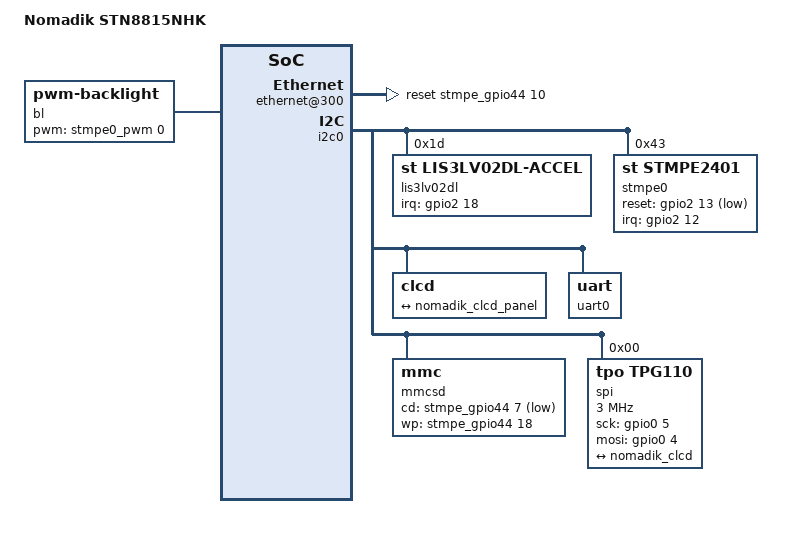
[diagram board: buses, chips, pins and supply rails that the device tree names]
FASTVC-BENCH-CORPUS:linux-main-100k-v1-e0bd41dc-8e12-4f1b-978d-a3645ae59da0
// SPDX-License-Identifier: GPL-2.0
/*
 * Device Tree for the ST Microelectronics Nomadik NHK8815 board
 */

/dts-v1/;
#include <dt-bindings/interrupt-controller/irq.h>
#include <dt-bindings/gpio/gpio.h>
#include "ste-nomadik-stn8815.dtsi"

/ {
	model = "Nomadik STN8815NHK";
	compatible = "st,nomadik-nhk-15";

	chosen {
		bootargs = "root=/dev/ram0 console=ttyAMA1,115200n8 earlyprintk";
	};

	aliases {
		serial0 = &uart0;
		serial1 = &uart1;
		stmpe-i2c0 = &stmpe0;
		stmpe-i2c1 = &stmpe1;
	};

	pinctrl {
		uart0 {
			uart0_nhk_mode: uart0_mux {
				u0_default_mux {
					function = "u0";
					groups = "u0txrx_a_1", "u0ctsrts_a_1";
				};
			};
		};

		stmpe2401_1 {
			stmpe2401_1_nhk_mode: stmpe2401_1_nhk {
				nhk_cfg1 {
					pins = "GPIO76_B20"; // IRQ line
					ste,input = <0>;
				};
				nhk_cfg2 {
					pins = "GPIO77_B8"; // reset line
					ste,output = <1>;
				};
			};
		};
		stmpe2401_2 {
			stmpe2401_2_nhk_mode: stmpe2401_2_nhk {
				nhk_cfg1 {
					pins = "GPIO78_A8"; // IRQ line
					ste,input = <0>;
				};
				nhk_cfg2 {
					pins = "GPIO79_C9"; // reset line
					ste,output = <1>;
				};
			};
		};
		lis3lv02dl {
			lis3lv02dl_nhk_mode: lis3lv02dl_nhk {
				nhk_cfg1 {
					pins = "GPIO82_C10"; // IRQ line
					ste,input = <0>;
				};
			};
		};
	};
	src@101e0000 {
		/* These chrystal outputs are not used on this board */
		disable-sxtalo;
		disable-mxtalo;
	};

	/* This is where the interrupt is routed on the NHK-15 debug board */
	external-bus@34000000 {
		compatible = "simple-bus";
		reg = <0x34000000 0x1000000>;
		#address-cells = <1>;
		#size-cells = <1>;
		ranges = <0 0x34000000 0x1000000>;
		ethernet@300 {
			compatible = "smsc,lan91c111";
			reg = <0x300 0x0fd00>;
			reg-io-width = <2>;
			reset-gpios = <&stmpe_gpio44 10 GPIO_ACTIVE_HIGH>;
			interrupt-parent = <&stmpe_gpio44>;
			interrupts = <11 IRQ_TYPE_EDGE_RISING>;
		};
	};

	i2c0 {
		lis3lv02dl@1d {
			/* Accelerometer */
			compatible = "st,lis3lv02dl-accel";
			interrupt-parent = <&gpio2>;
			interrupts = <18 IRQ_TYPE_EDGE_RISING>; // GPIO 82
			pinctrl-0 = <&lis3lv02dl_nhk_mode>;
			pinctrl-names = "default";
			reg = <0x1d>;
		};
		stmpe0: stmpe2401@43 {
			compatible = "st,stmpe2401";
			reg = <0x43>;
			reset-gpios = <&gpio2 13 GPIO_ACTIVE_LOW>; // GPIO77
			interrupts = <12 IRQ_TYPE_EDGE_FALLING>; // GPIO76
			interrupt-parent = <&gpio2>;
			interrupt-controller;
			wakeup-source;
			pinctrl-names = "default";
			pinctrl-0 = <&stmpe2401_1_nhk_mode>;
			stmpe_gpio43: stmpe_gpio {
				compatible = "st,stmpe-gpio";
				gpio-controller;
				#gpio-cells = <2>;
				interrupt-controller;
				#interrupt-cells = <2>;
				/* Some pins in alternate functions */
				st,norequest-mask = <0xf0f002>;
			};
			stmpe_keypad {
				compatible = "st,stmpe-keypad";
				debounce-interval = <64>;
				st,scan-count = <8>;
				st,no-autorepeat;
				keypad,num-rows = <8>;
				keypad,num-columns = <8>;
				linux,keymap = <0x00020072 // Vol down
						0x00030073 // Vol up
						0x0100009e // Back
						0x010100e3 // TV out
						0x01020098 // Lock
						0x0103013b // Start
						0x020000a3 // Next
						0x020100a4 // Play
						0x020200a5 // Prev
						0x02030160 // OK
						0x03000069 // Left
						0x0301006a // Right
						0x03020067 // Up
/* bench 4736.1.0 4634830024d1 */
/* bench 4736.1.1 c7c0df5e1892 */
/* bench 4736.1.2 d1c6b9dc9851 */
/* bench 4736.1.3 19b9c980e4a2 */
/* bench 4736.1.4 657e496683e8 */
/* bench 4736.1.5 89b3ba5dd8e7 */
			stmpe0_pwm: stmpe_pwm {
				compatible = "st,stmpe-pwm";
				#pwm-cells = <2>;
			};
		};
		stmpe1: stmpe2401@44 {
			compatible = "st,stmpe2401";
			reg = <0x44>;
			reset-gpios = <&gpio2 15 GPIO_ACTIVE_LOW>; // GPIO79
			interrupts = <14 IRQ_TYPE_EDGE_FALLING>; // GPIO78
			interrupt-parent = <&gpio2>;
			interrupt-controller;
			wakeup-source;
			pinctrl-names = "default";
			pinctrl-0 = <&stmpe2401_2_nhk_mode>;
			stmpe_gpio44: stmpe_gpio {
				compatible = "st,stmpe-gpio";
				gpio-controller;
				#gpio-cells = <2>;
				interrupt-controller;
				#interrupt-cells = <2>;
				/*
				 * This will turn off SATA so that MMC/SD
				 * can thrive
				 */
				mmcsd-gpio {
					gpio-hog;
					gpios = <2 0x0>;
					output-low;
					line-name = "SATA EN";
				};
			};
		};
	};

	amba {
		clcd@10120000 {
			status = "okay";
			pinctrl-names = "default";
			pinctrl-0 = <&clcd_24bit_mux>;
			port {
				nomadik_clcd: endpoint {
					remote-endpoint = <&nomadik_clcd_panel>;
					arm,pl11x,tft-r0g0b0-pads = <16 8 0>;
				};
			};

		};

		/* Activate RX/TX and CTS/RTS on UART 0 */
		uart0: uart@101fd000 {
			pinctrl-names = "default";
			pinctrl-0 = <&uart0_nhk_mode>;
			status = "okay";
		};
		mmcsd: mmc@101f6000 {
			cd-gpios = <&stmpe_gpio44 7 GPIO_ACTIVE_LOW>;
			wp-gpios = <&stmpe_gpio44 18 GPIO_ACTIVE_HIGH>;
		};
	};

	spi {
		compatible = "spi-gpio";
		#address-cells = <1>;
		#size-cells = <0>;

		/*
		 * As we're dealing with 3wire SPI, we only define SCK
		 * and MOSI (in the spec MOSI is called "SDA").
		 */
		gpio-sck = <&gpio0 5 GPIO_ACTIVE_HIGH>;
		gpio-mosi = <&gpio0 4 GPIO_ACTIVE_HIGH>;
		cs-gpios = <&gpio0 6 GPIO_ACTIVE_LOW>;
		num-chipselects = <1>;
/* bench 16541.2.0 7dd6359541d3 */
/* bench 16541.2.1 99651804d6c7 */
/* bench 16541.2.2 dd50aee2fe59 */
/* bench 16541.2.3 9f2240e7de40 */
/* bench 16541.2.4 753e96278def */
/* bench 16541.2.5 d85ea67c79d2 */
		 * WVGA connector 21
		 * WVGA (800x480): 4.3" TPG110 TDO43MTEA2 24-bit RGB
		 * with TPO touch screen.
		  */
/* bench 1547.0.0 be82132f786c */
/* bench 1547.0.1 85a653c1f0e2 */
/* bench 1547.0.2 2eb502f08b00 */
/* bench 1547.0.3 5d3861c4f098 */
/* bench 1547.0.4 e6ee5187a1a2 */
/* bench 1547.0.5 a7f22244e00b */
/* bench 1547.0.6 20815fbc53d9 */
/* bench 1547.0.7 9d3a28cf3eb4 */
/* bench 1547.0.8 326c0ad990d2 */
/* bench 1547.0.9 c490224b69ca */
/* bench 1547.0.10 bbe93206b7d2 */
			 * 5.7" OSD OSD057VA01CT TFT display.
			 */
			compatible = "tpo,tpg110";
			reg = <0>;
			spi-3wire;
			/* 320 ns min period ~= 3 MHz */
			spi-max-frequency = <3000000>;
			/* Width and height from the OSD data sheet */
			width-mm = <116>;
			height-mm = <87>;
/* bench 25117.0.0 8db529df0e46 */
/* bench 25117.0.1 39cb4e468438 */
/* bench 25117.0.2 90f9a97bf43f */
/* bench 25117.0.3 6c3deb4dc42f */
/* bench 25117.0.4 f1938e586979 */
/* bench 25117.0.5 cc76f22974a3 */
/* bench 25117.0.6 935f55622401 */

			port {
				nomadik_clcd_panel: endpoint {
					remote-endpoint = <&nomadik_clcd>;
				};
			};
		};
	};

	bl: backlight {
		compatible = "pwm-backlight";
		pwms = <&stmpe0_pwm 0 500000>;
		pwm-names = "backlight";
		brightness-levels = <
			0  1  2  3  4  5  6  7  8  9
			10 11 12 13 14 15 16 17 18 19
			20 21 22 23 24 25 26 27 28 29
			30 31 32 33 34 35 36 37 38 39
			40 41 42 43 44 45 46 47 48 49
			50 51 52 53 54 55 56 57 58 59
			60 61 62 63 64 65 66 67 68 69
			70 71 72 73 74 75 76 77 78 79
			80 81 82 83 84 85 86 87 88 89
			90 91 92 93 94 95 96 97 98 99
			100
		>;
		default-brightness-level = <100>;
	};
};
